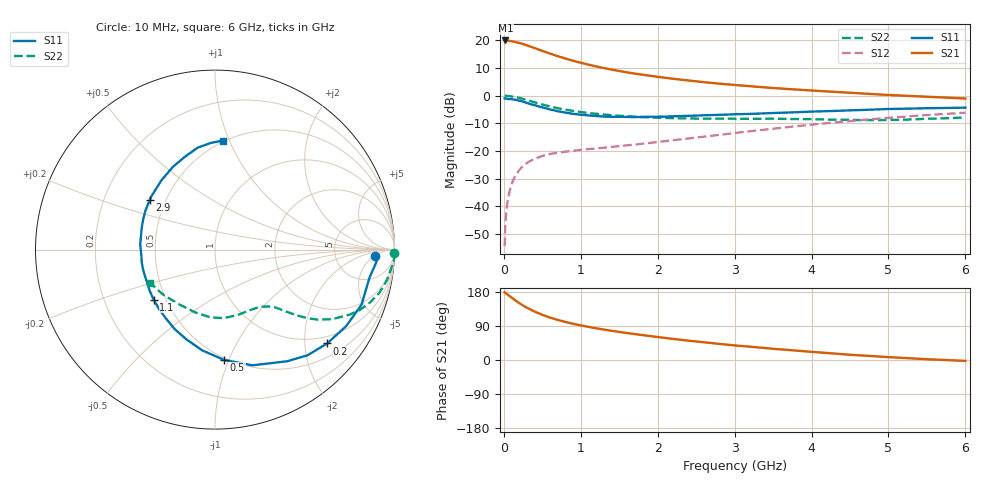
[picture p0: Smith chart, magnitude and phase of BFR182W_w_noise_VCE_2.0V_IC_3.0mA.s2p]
! Infineon Technologies  Discrete & RF Semiconductors
! BFR182W
! VCE =  2.0 V,  IC =  3.0 mA
! Common Emitter S-Parameters:  Jan 2017
# GHz  S  MA  R  50
!  f  S11  S21  S12  S22
! GHz  MAG  ANG  MAG  ANG  MAG  ANG  MAG  ANG
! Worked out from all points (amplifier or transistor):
!   77 points, 10 MHz to 6 GHz, reference 50 ohm
!   highest |S21| = 20.0 dB at 20 MHz (marker M1)
!   |S21| within 3 dB of that: start of sweep to 424.8 MHz
!   unconditionally stable (mu >= 1): 1.562 GHz to 3.163 GHz
!   at 130 MHz: K = 0.11, MSG = 24.8 dB, |S12| = -30.1 dB
!   at 2.2 GHz: K = 1.08, MAG = 9.4 dB, |S12| = -16.1 dB
!   at 6 GHz: K = 0.85, MSG = 2.6 dB, |S12| = -6.1 dB
!   lowest NFmin = 0.82 dB at 450 MHz
!   S11 on the Smith chart (normalised r, x): 10 MHz: 16, -5; 200 MHz: 0.81, -2.53; 500 MHz: 0.48, -0.96; 1.1 GHz: 0.43, -0.30; 2.9 GHz: 0.41, +0.29; 6 GHz: 0.49, +0.95
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0.01  0.8929 -2.2  9.942 178.6  0.0019 87.6  1 -1.0
0.02  0.903 -4.2  10.01 177.3  0.0048 93.2  1 -2.3
0.05  0.8749 -10.3  9.923 172.4  0.0125 84.8  0.9915 -5.1
0.1  0.8722 -20.6  9.704 164.8  0.0249 79.6  0.9727 -10.1
0.15  0.8459 -30.3  9.395 157.4  0.0357 73.7  0.9467 -14.8
0.2  0.8149 -39.9  9.017 150.3  0.0451 69.5  0.913 -18.8
0.25  0.7826 -48.8  8.627 143.7  0.0538 64.3  0.8754 -22.5
0.3  0.7408 -57.1  8.157 137.9  0.061 60.8  0.8344 -25.7
0.4  0.6774 -72.1  7.304 127.6  0.0726 55.0  0.761 -30.6
0.5  0.6166 -85.3  6.486 119.2  0.0815 50.9  0.6951 -34.2
0.6  0.5663 -97.1  5.806 112.0  0.0886 48.1  0.6406 -36.6
0.7  0.5256 -107.5  5.204 105.8  0.0928 46.4  0.5963 -38.3
0.8  0.4966 -116.9  4.724 100.4  0.0974 45.7  0.5608 -39.7
0.9  0.4705 -125.7  4.3 95.6  0.101 45.0  0.5316 -40.8
1.1  0.4407 -140.8  3.656 87.5  0.1083 45.4  0.489 -42.6
1.5  0.4156 -165.2  2.806 74.1  0.1226 47.9  0.4349 -46.7
2.1  0.4207 167.8  2.114 58.2  0.1512 52.6  0.3969 -55.5
2.9  0.4567 142.7  1.612 40.5  0.2037 55.6  0.3847 -71.0
3.1  0.4659 137.4  1.529 36.8  0.2197 55.5  0.3835 -74.9
4.1  0.5216 115.1  1.221 20.0  0.3094 51.6  0.3741 -96.8
5.1  0.5795 98.0  1.018 6.5  0.408 43.1  0.3665 -127.2
6  0.6096 85.6  0.892 -2.5  0.4936 33.5  0.4055 -153.1
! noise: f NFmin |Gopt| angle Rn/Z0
0.45  0.82  0.39  31  0.2
0.9  0.95  0.3  57  0.2
1.9  1.6  0.25  149  0.12
2.4  1.92  0.23  170  0.17
